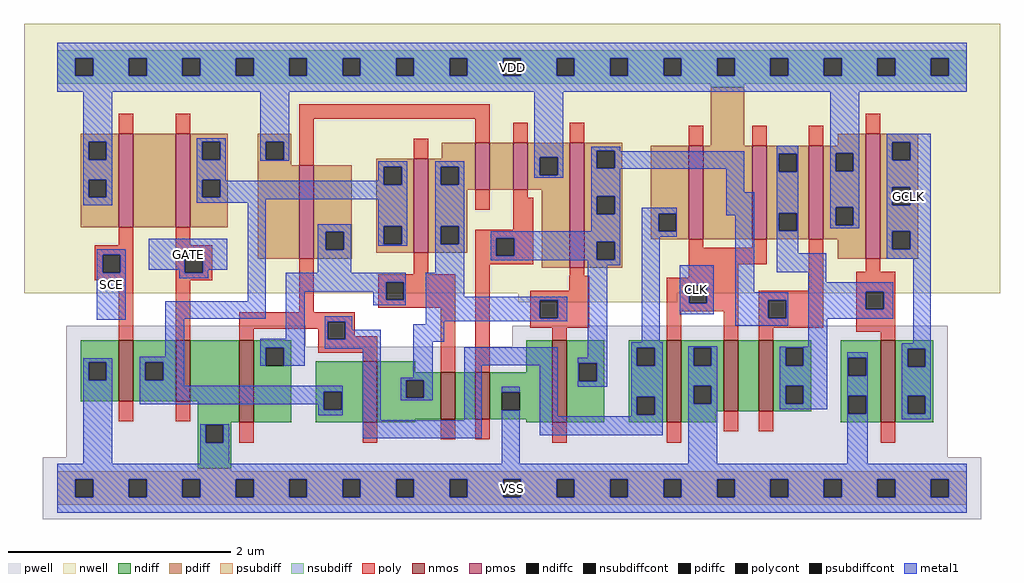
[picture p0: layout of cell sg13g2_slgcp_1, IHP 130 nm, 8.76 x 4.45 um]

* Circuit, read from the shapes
.subckt sg13g2_slgcp_1 GCLK SCE GATE CLK VSS VDD
XM1 n1 SCE VSS VSS sg13_lv_nmos w=0.55u l=0.13u
XM2 VSS GATE n1 VSS sg13_lv_nmos w=0.55u l=0.13u
XM3 n2 n3 VSS VSS sg13_lv_nmos w=0.74u l=0.13u
XM4 n4 n3 n1 VSS sg13_lv_nmos w=0.55u l=0.13u
XM5 n5 n2 n4 VSS sg13_lv_nmos w=0.42u l=0.13u
XM6 VSS n6 n5 VSS sg13_lv_nmos w=0.42u l=0.13u
XM7 n6 n4 VSS VSS sg13_lv_nmos w=0.74u l=0.13u
XM8 VSS CLK n3 VSS sg13_lv_nmos w=0.74u l=0.13u
XM9 n7 CLK VSS VSS sg13_lv_nmos w=0.64u l=0.13u
XM10 n8 n6 n7 VSS sg13_lv_nmos w=0.64u l=0.13u
XM11 GCLK n8 VSS VSS sg13_lv_nmos w=0.74u l=0.13u
XM12 n9 SCE VDD VDD sg13_lv_pmos w=0.84u l=0.13u
XM13 n1 GATE n9 VDD sg13_lv_pmos w=0.84u l=0.13u
XM14 n2 n3 VDD VDD sg13_lv_pmos w=0.84u l=0.13u
XM15 n4 n2 n1 VDD sg13_lv_pmos w=0.84u l=0.13u
XM16 n10 n3 n4 VDD sg13_lv_pmos w=0.42u l=0.13u
XM17 VDD n6 n10 VDD sg13_lv_pmos w=0.42u l=0.13u
XM18 n6 n4 VDD VDD sg13_lv_pmos w=1.12u l=0.13u
XM19 VDD CLK n3 VDD sg13_lv_pmos w=0.84u l=0.13u
XM20 n8 CLK VDD VDD sg13_lv_pmos w=0.84u l=0.13u
XM21 VDD n6 n8 VDD sg13_lv_pmos w=0.84u l=0.13u
XM22 GCLK n8 VDD VDD sg13_lv_pmos w=1.12u l=0.13u
.ends

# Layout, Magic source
magic
tech ihp-sg13g2
magscale 1 2
<< nwell >>
rect -60 350 1692 834
rect 827 334 1113 350
<< pwell >>
rect 16 254 446 292
rect 816 254 1598 292
rect 16 56 1598 254
rect -26 -56 1658 56
<< nmos >>
rect 110 156 136 266
rect 212 156 238 266
rect 326 118 352 266
rect 548 118 574 228
rect 688 124 714 208
rect 750 124 776 208
rect 888 118 914 266
rect 1094 118 1120 266
rect 1196 138 1222 266
rect 1259 138 1285 266
rect 1478 118 1504 266
<< pmos >>
rect 110 468 136 636
rect 212 468 238 636
rect 434 412 460 580
rect 640 423 666 591
rect 750 536 776 620
rect 818 536 844 620
rect 920 396 946 620
rect 1133 447 1159 615
rect 1247 447 1273 615
rect 1349 447 1375 615
rect 1451 412 1477 636
<< ndiff >>
rect 42 226 110 266
rect 42 194 56 226
rect 88 194 110 226
rect 42 156 110 194
rect 136 226 212 266
rect 136 194 158 226
rect 190 194 212 226
rect 136 156 212 194
rect 238 156 326 266
rect 252 118 326 156
rect 352 252 420 266
rect 352 220 374 252
rect 406 220 420 252
rect 352 118 420 220
rect 464 173 548 228
rect 464 141 478 173
rect 510 141 548 173
rect 464 118 548 141
rect 574 208 642 228
rect 842 208 888 266
rect 574 194 688 208
rect 574 162 626 194
rect 658 162 688 194
rect 574 124 688 162
rect 714 124 750 208
rect 776 172 888 208
rect 776 140 798 172
rect 830 140 888 172
rect 776 124 888 140
rect 574 118 642 124
rect 252 114 312 118
rect 252 82 266 114
rect 298 82 312 114
rect 842 118 888 124
rect 914 224 982 266
rect 914 192 936 224
rect 968 192 982 224
rect 914 118 982 192
rect 1026 252 1094 266
rect 1026 220 1040 252
rect 1072 220 1094 252
rect 1026 164 1094 220
rect 1026 132 1040 164
rect 1072 132 1094 164
rect 1026 118 1094 132
rect 1120 252 1196 266
rect 1120 220 1142 252
rect 1174 220 1196 252
rect 1120 184 1196 220
rect 1120 152 1142 184
rect 1174 152 1196 184
rect 1120 138 1196 152
rect 1222 138 1259 266
rect 1285 252 1353 266
rect 1285 220 1307 252
rect 1339 220 1353 252
rect 1285 184 1353 220
rect 1285 152 1307 184
rect 1339 152 1353 184
rect 1285 138 1353 152
rect 1406 234 1478 266
rect 1406 202 1420 234
rect 1452 202 1478 234
rect 1406 166 1478 202
rect 1120 118 1182 138
rect 1406 134 1420 166
rect 1452 134 1478 166
rect 1406 118 1478 134
rect 1504 250 1572 266
rect 1504 218 1526 250
rect 1558 218 1572 250
rect 1504 166 1572 218
rect 1504 134 1526 166
rect 1558 134 1572 166
rect 1504 118 1572 134
rect 252 36 312 82
<< pdiff >>
rect 42 622 110 636
rect 42 590 56 622
rect 88 590 110 622
rect 42 554 110 590
rect 42 522 56 554
rect 88 522 110 554
rect 42 468 110 522
rect 136 468 212 636
rect 238 622 306 636
rect 238 590 260 622
rect 292 590 306 622
rect 238 554 306 590
rect 238 522 260 554
rect 292 522 306 554
rect 238 468 306 522
rect 360 622 420 636
rect 360 590 374 622
rect 406 590 420 622
rect 360 580 420 590
rect 690 591 750 620
rect 360 412 434 580
rect 460 460 528 580
rect 460 428 482 460
rect 514 428 528 460
rect 460 412 528 428
rect 572 577 640 591
rect 572 545 586 577
rect 618 545 640 577
rect 572 470 640 545
rect 572 438 586 470
rect 618 438 640 470
rect 572 423 640 438
rect 666 577 750 591
rect 666 545 688 577
rect 720 545 750 577
rect 666 536 750 545
rect 776 536 818 620
rect 844 594 920 620
rect 844 562 866 594
rect 898 562 920 594
rect 844 536 920 562
rect 666 470 736 536
rect 666 438 688 470
rect 720 438 736 470
rect 666 423 736 438
rect 869 396 920 536
rect 946 606 1014 620
rect 1173 615 1233 720
rect 1401 615 1451 636
rect 946 574 968 606
rect 1000 574 1014 606
rect 946 524 1014 574
rect 946 492 968 524
rect 1000 492 1014 524
rect 946 442 1014 492
rect 1065 493 1133 615
rect 1065 461 1079 493
rect 1111 461 1133 493
rect 1065 447 1133 461
rect 1159 447 1247 615
rect 1273 600 1349 615
rect 1273 568 1295 600
rect 1327 568 1349 600
rect 1273 494 1349 568
rect 1273 462 1295 494
rect 1327 462 1349 494
rect 1273 447 1349 462
rect 1375 601 1451 615
rect 1375 569 1397 601
rect 1429 569 1451 601
rect 1375 504 1451 569
rect 1375 472 1397 504
rect 1429 472 1451 504
rect 1375 447 1451 472
rect 946 410 968 442
rect 1000 410 1014 442
rect 946 396 1014 410
rect 1401 412 1451 447
rect 1477 621 1545 636
rect 1477 589 1499 621
rect 1531 589 1545 621
rect 1477 540 1545 589
rect 1477 508 1499 540
rect 1531 508 1545 540
rect 1477 461 1545 508
rect 1477 429 1499 461
rect 1531 429 1545 461
rect 1477 412 1545 429
<< ndiffc >>
rect 56 194 88 226
rect 158 194 190 226
rect 374 220 406 252
rect 478 141 510 173
rect 626 162 658 194
rect 798 140 830 172
rect 266 82 298 114
rect 936 192 968 224
rect 1040 220 1072 252
rect 1040 132 1072 164
rect 1142 220 1174 252
rect 1142 152 1174 184
rect 1307 220 1339 252
rect 1307 152 1339 184
rect 1420 202 1452 234
rect 1420 134 1452 166
rect 1526 218 1558 250
rect 1526 134 1558 166
<< pdiffc >>
rect 56 590 88 622
rect 56 522 88 554
rect 260 590 292 622
rect 260 522 292 554
rect 374 590 406 622
rect 482 428 514 460
rect 586 545 618 577
rect 586 438 618 470
rect 688 545 720 577
rect 866 562 898 594
rect 688 438 720 470
rect 968 574 1000 606
rect 968 492 1000 524
rect 1079 461 1111 493
rect 1295 568 1327 600
rect 1295 462 1327 494
rect 1397 569 1429 601
rect 1397 472 1429 504
rect 968 410 1000 442
rect 1499 589 1531 621
rect 1499 508 1531 540
rect 1499 429 1531 461
<< psubdiff >>
rect 252 30 312 36
rect 0 16 1632 30
rect 0 -16 32 16
rect 64 -16 128 16
rect 160 -16 224 16
rect 256 -16 320 16
rect 352 -16 416 16
rect 448 -16 512 16
rect 544 -16 608 16
rect 640 -16 704 16
rect 736 -16 800 16
rect 832 -16 896 16
rect 928 -16 992 16
rect 1024 -16 1088 16
rect 1120 -16 1184 16
rect 1216 -16 1280 16
rect 1312 -16 1376 16
rect 1408 -16 1472 16
rect 1504 -16 1568 16
rect 1600 -16 1632 16
rect 0 -30 1632 -16
<< nsubdiff >>
rect 0 772 1632 786
rect 0 740 32 772
rect 64 740 128 772
rect 160 740 224 772
rect 256 740 320 772
rect 352 740 416 772
rect 448 740 512 772
rect 544 740 608 772
rect 640 740 704 772
rect 736 740 800 772
rect 832 740 896 772
rect 928 740 992 772
rect 1024 740 1088 772
rect 1120 740 1184 772
rect 1216 740 1280 772
rect 1312 740 1376 772
rect 1408 740 1472 772
rect 1504 740 1568 772
rect 1600 740 1632 772
rect 0 726 1632 740
rect 1173 720 1233 726
<< psubdiffcont >>
rect 32 -16 64 16
rect 128 -16 160 16
rect 224 -16 256 16
rect 320 -16 352 16
rect 416 -16 448 16
rect 512 -16 544 16
rect 608 -16 640 16
rect 704 -16 736 16
rect 800 -16 832 16
rect 896 -16 928 16
rect 992 -16 1024 16
rect 1088 -16 1120 16
rect 1184 -16 1216 16
rect 1280 -16 1312 16
rect 1376 -16 1408 16
rect 1472 -16 1504 16
rect 1568 -16 1600 16
<< nsubdiffcont >>
rect 32 740 64 772
rect 128 740 160 772
rect 224 740 256 772
rect 320 740 352 772
rect 416 740 448 772
rect 512 740 544 772
rect 608 740 640 772
rect 704 740 736 772
rect 800 740 832 772
rect 896 740 928 772
rect 992 740 1024 772
rect 1088 740 1120 772
rect 1184 740 1216 772
rect 1280 740 1312 772
rect 1376 740 1408 772
rect 1472 740 1504 772
rect 1568 740 1600 772
<< poly >>
rect 110 636 136 672
rect 212 636 238 672
rect 434 663 776 689
rect 434 580 460 663
rect 640 591 666 627
rect 750 620 776 663
rect 818 620 844 656
rect 920 620 946 656
rect 110 436 136 468
rect 67 419 136 436
rect 67 387 81 419
rect 113 387 136 419
rect 67 373 136 387
rect 110 266 136 373
rect 212 436 238 468
rect 212 419 278 436
rect 212 387 229 419
rect 261 387 278 419
rect 750 500 776 536
rect 818 521 844 536
rect 818 464 854 521
rect 750 449 854 464
rect 212 373 278 387
rect 212 266 238 373
rect 434 316 460 412
rect 640 384 666 423
rect 750 417 788 449
rect 820 417 854 449
rect 750 402 854 417
rect 576 370 714 384
rect 576 338 590 370
rect 622 338 714 370
rect 576 324 714 338
rect 326 299 534 316
rect 326 286 485 299
rect 326 266 352 286
rect 468 267 485 286
rect 517 273 534 299
rect 517 267 574 273
rect 110 120 136 156
rect 212 120 238 156
rect 468 243 574 267
rect 548 228 574 243
rect 688 208 714 324
rect 750 208 776 402
rect 1133 615 1159 651
rect 1247 615 1273 651
rect 1349 615 1375 651
rect 1451 636 1477 672
rect 1133 432 1159 447
rect 1247 432 1273 447
rect 1133 402 1273 432
rect 920 381 946 396
rect 919 354 955 381
rect 1133 378 1222 402
rect 849 337 955 354
rect 849 305 866 337
rect 898 305 955 337
rect 849 288 955 305
rect 1094 364 1222 378
rect 1094 332 1134 364
rect 1166 332 1222 364
rect 1349 354 1375 447
rect 1451 389 1477 412
rect 1094 318 1222 332
rect 888 266 914 288
rect 1094 266 1120 318
rect 1196 266 1222 318
rect 1259 337 1375 354
rect 1259 305 1276 337
rect 1308 305 1375 337
rect 1259 288 1375 305
rect 1434 353 1504 389
rect 1434 321 1451 353
rect 1483 321 1504 353
rect 1259 266 1285 288
rect 1434 281 1504 321
rect 1478 266 1504 281
rect 326 82 352 118
rect 548 82 574 118
rect 688 88 714 124
rect 750 88 776 124
rect 888 82 914 118
rect 1094 82 1120 118
rect 1196 102 1222 138
rect 1259 102 1285 138
rect 1478 82 1504 118
<< polycont >>
rect 81 387 113 419
rect 229 387 261 419
rect 788 417 820 449
rect 590 338 622 370
rect 485 267 517 299
rect 866 305 898 337
rect 1134 332 1166 364
rect 1276 305 1308 337
rect 1451 321 1483 353
<< metal1 >>
rect 0 772 1632 800
rect 0 740 32 772
rect 64 740 128 772
rect 160 740 224 772
rect 256 740 320 772
rect 352 740 416 772
rect 448 740 512 772
rect 544 740 608 772
rect 640 740 704 772
rect 736 740 800 772
rect 832 740 896 772
rect 928 740 992 772
rect 1024 740 1088 772
rect 1120 740 1184 772
rect 1216 740 1280 772
rect 1312 740 1376 772
rect 1408 740 1472 772
rect 1504 740 1568 772
rect 1600 740 1632 772
rect 0 712 1632 740
rect 46 622 98 712
rect 46 590 56 622
rect 88 590 98 622
rect 46 554 98 590
rect 46 522 56 554
rect 88 522 98 554
rect 46 508 98 522
rect 250 622 302 628
rect 250 590 260 622
rect 292 590 302 622
rect 250 554 302 590
rect 364 622 416 712
rect 364 590 374 622
rect 406 590 416 622
rect 364 588 416 590
rect 856 594 908 712
rect 250 522 260 554
rect 292 552 302 554
rect 576 577 628 587
rect 576 552 586 577
rect 292 545 586 552
rect 618 545 628 577
rect 292 522 628 545
rect 250 519 628 522
rect 250 512 374 519
rect 71 419 123 429
rect 71 387 81 419
rect 113 387 123 419
rect 164 419 305 448
rect 164 392 229 419
rect 71 302 123 387
rect 219 387 229 392
rect 261 392 305 419
rect 261 387 271 392
rect 219 377 271 387
rect 342 336 374 512
rect 467 460 527 474
rect 467 428 482 460
rect 514 428 527 460
rect 576 470 628 519
rect 576 438 586 470
rect 618 438 628 470
rect 576 435 628 438
rect 678 577 730 587
rect 678 545 688 577
rect 720 545 730 577
rect 856 562 866 594
rect 898 562 908 594
rect 856 557 908 562
rect 958 606 1010 613
rect 958 574 968 606
rect 1000 605 1010 606
rect 1000 574 1233 605
rect 958 573 1233 574
rect 678 470 730 545
rect 678 438 688 470
rect 720 438 730 470
rect 958 524 1010 573
rect 958 492 968 524
rect 1000 492 1010 524
rect 1201 531 1233 573
rect 1291 600 1330 615
rect 1291 568 1295 600
rect 1327 568 1330 600
rect 958 461 1010 492
rect 467 387 527 428
rect 678 387 730 438
rect 778 449 1010 461
rect 778 417 788 449
rect 820 442 1010 449
rect 820 417 968 442
rect 778 410 968 417
rect 1000 410 1010 442
rect 778 409 1010 410
rect 194 304 374 336
rect 410 370 625 387
rect 410 353 590 370
rect 194 236 228 304
rect 410 268 444 353
rect 567 338 590 353
rect 622 338 625 370
rect 567 328 625 338
rect 661 344 730 387
rect 952 400 1010 409
rect 1049 493 1112 503
rect 1049 461 1079 493
rect 1111 461 1112 493
rect 1201 490 1251 531
rect 1049 451 1112 461
rect 661 337 915 344
rect 46 226 98 233
rect 46 194 56 226
rect 88 194 98 226
rect 46 44 98 194
rect 148 226 228 236
rect 148 194 158 226
rect 190 194 228 226
rect 364 252 444 268
rect 364 220 374 252
rect 406 220 444 252
rect 480 299 529 309
rect 480 267 485 299
rect 517 284 529 299
rect 661 305 866 337
rect 898 305 915 337
rect 661 300 915 305
rect 661 294 694 300
rect 517 267 580 284
rect 480 250 580 267
rect 148 184 228 194
rect 148 173 512 184
rect 148 151 478 173
rect 468 141 478 151
rect 510 141 512 173
rect 468 131 512 141
rect 548 122 580 250
rect 639 263 694 294
rect 639 198 674 263
rect 616 194 674 198
rect 616 162 626 194
rect 658 162 674 194
rect 616 158 674 162
rect 730 221 898 253
rect 952 234 987 400
rect 1049 262 1081 451
rect 1117 364 1178 400
rect 1117 332 1134 364
rect 1166 332 1178 364
rect 1117 312 1178 332
rect 1217 352 1251 490
rect 1291 494 1330 568
rect 1291 462 1295 494
rect 1327 462 1330 494
rect 1387 601 1439 712
rect 1387 569 1397 601
rect 1429 569 1439 601
rect 1387 504 1439 569
rect 1387 472 1397 504
rect 1429 472 1439 504
rect 1387 467 1439 472
rect 1489 621 1568 636
rect 1489 589 1499 621
rect 1531 589 1568 621
rect 1489 540 1568 589
rect 1489 508 1499 540
rect 1531 508 1568 540
rect 1291 422 1330 462
rect 1489 461 1568 508
rect 1489 429 1499 461
rect 1531 429 1568 461
rect 1291 388 1380 422
rect 1489 412 1568 429
rect 1348 370 1380 388
rect 1348 353 1500 370
rect 1217 337 1312 352
rect 1217 305 1276 337
rect 1308 305 1312 337
rect 1217 292 1312 305
rect 1348 321 1451 353
rect 1483 321 1500 353
rect 1348 304 1500 321
rect 730 122 762 221
rect 256 114 308 115
rect 256 82 266 114
rect 298 82 308 114
rect 548 90 762 122
rect 798 172 830 182
rect 256 44 308 82
rect 798 44 830 140
rect 866 129 898 221
rect 934 224 987 234
rect 934 192 936 224
rect 968 192 987 224
rect 934 182 987 192
rect 1030 252 1087 262
rect 1030 220 1040 252
rect 1072 220 1087 252
rect 1030 164 1087 220
rect 1030 132 1040 164
rect 1072 132 1087 164
rect 1030 129 1087 132
rect 866 95 1087 129
rect 1132 252 1184 255
rect 1348 254 1382 304
rect 1536 260 1568 412
rect 1132 220 1142 252
rect 1174 220 1184 252
rect 1132 184 1184 220
rect 1132 152 1142 184
rect 1174 152 1184 184
rect 1132 44 1184 152
rect 1297 252 1382 254
rect 1297 220 1307 252
rect 1339 220 1382 252
rect 1516 250 1568 260
rect 1297 184 1382 220
rect 1297 152 1307 184
rect 1339 152 1382 184
rect 1297 142 1382 152
rect 1418 234 1455 244
rect 1418 202 1420 234
rect 1452 202 1455 234
rect 1418 166 1455 202
rect 1418 134 1420 166
rect 1452 134 1455 166
rect 1418 44 1455 134
rect 1516 218 1526 250
rect 1558 218 1568 250
rect 1516 166 1568 218
rect 1516 134 1526 166
rect 1558 134 1568 166
rect 1516 124 1568 134
rect 0 16 1632 44
rect 0 -16 32 16
rect 64 -16 128 16
rect 160 -16 224 16
rect 256 -16 320 16
rect 352 -16 416 16
rect 448 -16 512 16
rect 544 -16 608 16
rect 640 -16 704 16
rect 736 -16 800 16
rect 832 -16 896 16
rect 928 -16 992 16
rect 1024 -16 1088 16
rect 1120 -16 1184 16
rect 1216 -16 1280 16
rect 1312 -16 1376 16
rect 1408 -16 1472 16
rect 1504 -16 1568 16
rect 1600 -16 1632 16
rect 0 -44 1632 -16
<< labels >>
flabel metal1 s 1489 412 1568 636 0 FreeSans 400 0 0 0 GCLK
port 2 nsew
flabel metal1 s 71 302 123 429 0 FreeSans 400 0 0 0 SCE
port 3 nsew
flabel metal1 s 164 392 305 448 0 FreeSans 400 0 0 0 GATE
port 4 nsew
flabel metal1 s 1117 312 1178 400 0 FreeSans 400 0 0 0 CLK
port 5 nsew
flabel metal1 s 0 -44 1632 44 0 FreeSans 400 0 0 0 VSS
port 6 nsew
flabel metal1 s 0 712 1632 800 0 FreeSans 400 0 0 0 VDD
port 7 nsew
<< properties >>
string FIXED_BBOX 0 0 1632 756
<< end >>
